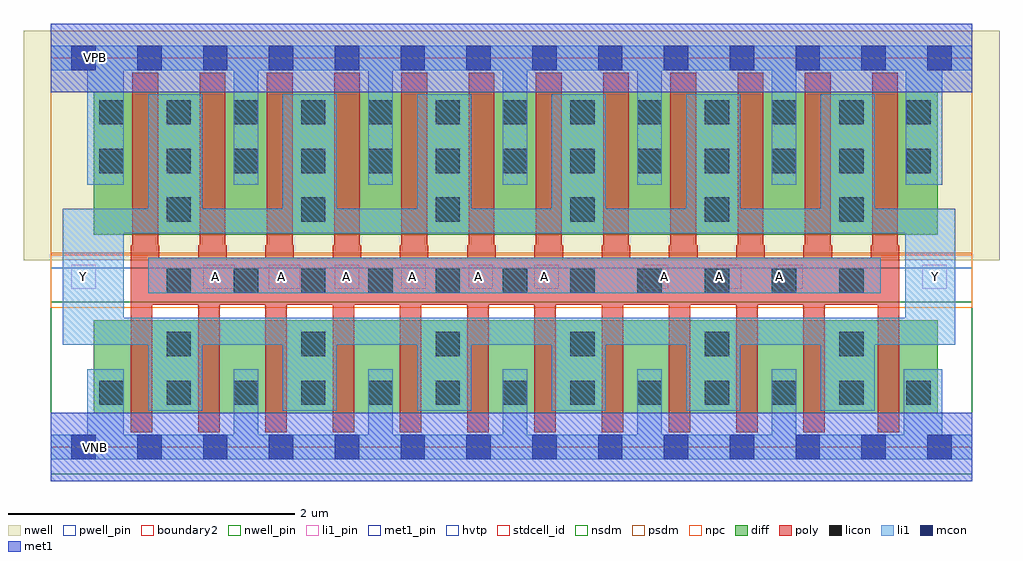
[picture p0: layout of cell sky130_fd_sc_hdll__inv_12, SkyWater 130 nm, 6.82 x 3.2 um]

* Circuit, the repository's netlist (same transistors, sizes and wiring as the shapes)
* Copyright 2020 The SkyWater PDK Authors
*
* Licensed under the Apache License, Version 2.0 (the "License");
* you may not use this file except in compliance with the License.
* You may obtain a copy of the License at
*
*     https://www.apache.org/licenses/LICENSE-2.0
*
* Unless required by applicable law or agreed to in writing, software
* distributed under the License is distributed on an "AS IS" BASIS,
* WITHOUT WARRANTIES OR CONDITIONS OF ANY KIND, either express or implied.
* See the License for the specific language governing permissions and
* limitations under the License.
*
* SPDX-License-Identifier: Apache-2.0

.SUBCKT sky130_fd_sc_hdll__inv_12 A VGND VNB VPB VPWR Y
*.PININFO A:I VGND:I VNB:I VPB:I VPWR:I Y:O
MMIN1 Y A VGND VNB sky130_fd_pr__nfet_01v8 m=12 w=0.65U l=0.15U mult=1 sa=0.265
+ sb=0.265 sd=0.28 area=0.063 perim=1.14
MMIP1 Y A VPWR VPB sky130_fd_pr__pfet_01v8_hvt m=12 w=1.0U l=0.18U mult=1 sa=0.265
+ sb=0.265 sd=0.28 area=0.063 perim=1.14
.ENDS sky130_fd_sc_hdll__inv_12

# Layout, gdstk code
import gdstk
lib = gdstk.Library(unit=1e-6, precision=1e-09)
def R(c, l, rs):  # rectangles x0, y0, x1, y1
    for r in rs: c.add(gdstk.rectangle(r[:2], r[2:], *l))
def A(c, l, x, y, w, h, nx, ny, dx, dy):  # array of equal rectangles
    R(c, l, [(x+i*dx, y+j*dy, x+i*dx+w, y+j*dy+h) for i in range(nx) for j in range(ny)])
def P(c, l, *ps):  # polygons
    for p in ps: c.add(gdstk.Polygon(p, *l))
nwell_pin = (64, 16)
nwell = (64, 20)
diff = (65, 20)
poly = (66, 20)
licon = (66, 44)
li1_pin = (67, 16)
li1 = (67, 20)
mcon = (67, 44)
met1_pin = (68, 16)
met1 = (68, 20)
hvtp = (78, 44)
stdcell_id = (81, 4)
nsdm = (93, 44)
psdm = (94, 20)
npc = (95, 20)
pwell_pin = (122, 16)
boundary2 = (236, 0)

sky130_fd_sc_hdll__inv_1 = lib.new_cell('sky130_fd_sc_hdll__inv_12')
R(sky130_fd_sc_hdll__inv_1, nwell_pin, [(0.145,2.635,0.315,2.805)])
R(sky130_fd_sc_hdll__inv_1, nwell, [(-0.19,1.305,6.63,2.91)])
R(sky130_fd_sc_hdll__inv_1, diff, [(0.3,0.235,6.2,0.885), (0.3,1.485,6.2,2.485)])
P(sky130_fd_sc_hdll__inv_1, poly, [(5.93,1.41),(5.92,1.41),(5.92,2.615),(5.74,2.615),(5.74,1.41),(5.73,1.41),(5.73,1.325),(5.46,1.325),(5.46,1.41),(5.45,1.41),(5.45,2.615),(5.27,2.615),(5.27,1.41),(5.26,1.41),(5.26,1.325),(4.99,1.325),(4.99,1.41),(4.98,1.41),(4.98,2.615),(4.8,2.615),(4.8,1.41),(4.79,1.41),(4.79,1.325),(4.52,1.325),(4.52,1.41),(4.51,1.41),(4.51,2.615),(4.33,2.615),(4.33,1.41),(4.32,1.41),(4.32,1.325),(4.05,1.325),(4.05,1.41),(4.04,1.41),(4.04,2.615),(3.86,2.615),(3.86,1.41),(3.85,1.41),(3.85,1.325),(3.58,1.325),(3.58,1.41),(3.57,1.41),(3.57,2.615),(3.39,2.615),(3.39,1.41),(3.38,1.41),(3.38,1.325),(3.11,1.325),(3.11,1.41),(3.1,1.41),(3.1,2.615),(2.92,2.615),(2.92,1.41),(2.91,1.41),(2.91,1.325),(2.64,1.325),(2.64,1.41),(2.63,1.41),(2.63,2.615),(2.45,2.615),(2.45,1.41),(2.44,1.41),(2.44,1.325),(2.17,1.325),(2.17,1.41),(2.16,1.41),(2.16,2.615),(1.98,2.615),(1.98,1.41),(1.97,1.41),(1.97,1.325),(1.7,1.325),(1.7,1.41),(1.69,1.41),(1.69,2.615),(1.51,2.615),(1.51,1.41),(1.5,1.41),(1.5,1.325),(1.23,1.325),(1.23,1.41),(1.22,1.41),(1.22,2.615),(1.04,2.615),(1.04,1.41),(1.03,1.41),(1.03,1.325),(0.76,1.325),(0.76,1.41),(0.75,1.41),(0.75,2.615),(0.57,2.615),(0.57,1.41),(0.56,1.41),(0.56,0.105),(0.71,0.105),(0.71,0.995),(1.03,0.995),(1.03,0.105),(1.18,0.105),(1.18,0.995),(1.5,0.995),(1.5,0.105),(1.65,0.105),(1.65,0.995),(1.97,0.995),(1.97,0.105),(2.12,0.105),(2.12,0.995),(2.44,0.995),(2.44,0.105),(2.59,0.105),(2.59,0.995),(2.91,0.995),(2.91,0.105),(3.06,0.105),(3.06,0.995),(3.38,0.995),(3.38,0.105),(3.53,0.105),(3.53,0.995),(3.85,0.995),(3.85,0.105),(4,0.105),(4,0.995),(4.32,0.995),(4.32,0.105),(4.47,0.105),(4.47,0.995),(4.79,0.995),(4.79,0.105),(4.94,0.105),(4.94,0.995),(5.26,0.995),(5.26,0.105),(5.41,0.105),(5.41,0.995),(5.78,0.995),(5.78,0.105),(5.93,0.105)])
A(sky130_fd_sc_hdll__inv_1, licon, 0.34, 0.295, 0.17, 0.17, 13, 2, 0.47, 1.62)
A(sky130_fd_sc_hdll__inv_1, licon, 0.81, 0.635, 0.17, 0.17, 6, 2, 0.94, 0.94)
A(sky130_fd_sc_hdll__inv_1, licon, 0.81, 1.075, 0.17, 0.17, 11, 1, 0.47, 0)
A(sky130_fd_sc_hdll__inv_1, licon, 0.34, 2.255, 0.17, 0.17, 13, 1, 0.47, 0)
R(sky130_fd_sc_hdll__inv_1, li1_pin, [(0.145,1.105,0.315,1.275), (1.065,1.105,1.285,1.275), (1.525,1.105,1.745,1.275), (1.985,1.105,2.155,1.275), (2.45,1.105,2.62,1.275), (2.92,1.105,3.09,1.275), (3.38,1.105,3.55,1.275), (4.145,1.105,4.315,1.275), (4.655,1.105,4.825,1.275), (5.085,1.105,5.255,1.275), (6.09,1.105,6.26,1.275)])
R(sky130_fd_sc_hdll__inv_1, li1, [(0.68,1.075,5.8,1.325)])
P(sky130_fd_sc_hdll__inv_1, li1, [(6.32,1.665),(5.97,1.665),(5.97,0.905),(0.51,0.905),(0.51,1.495),(5.97,1.495),(5.97,1.665),(5.76,1.665),(5.76,2.465),(5.38,2.465),(5.38,1.665),(4.82,1.665),(4.82,2.465),(4.44,2.465),(4.44,1.665),(3.88,1.665),(3.88,2.465),(3.5,2.465),(3.5,1.665),(2.94,1.665),(2.94,2.465),(2.56,2.465),(2.56,1.665),(2,1.665),(2,2.465),(1.62,2.465),(1.62,1.665),(1.06,1.665),(1.06,2.465),(0.68,2.465),(0.68,1.665),(0.085,1.665),(0.085,0.715),(0.68,0.715),(0.68,0.255),(1.06,0.255),(1.06,0.715),(1.62,0.715),(1.62,0.255),(2,0.255),(2,0.715),(2.56,0.715),(2.56,0.255),(2.94,0.255),(2.94,0.715),(3.5,0.715),(3.5,0.255),(3.88,0.255),(3.88,0.715),(4.44,0.715),(4.44,0.255),(4.82,0.255),(4.82,0.715),(5.38,0.715),(5.38,0.255),(5.76,0.255),(5.76,0.715),(6.32,0.715)],
  [(6.44,2.805),(0,2.805),(0,2.635),(0.255,2.635),(0.255,1.835),(0.51,1.835),(0.51,2.635),(1.28,2.635),(1.28,1.835),(1.45,1.835),(1.45,2.635),(2.22,2.635),(2.22,1.835),(2.39,1.835),(2.39,2.635),(3.16,2.635),(3.16,1.835),(3.33,1.835),(3.33,2.635),(4.1,2.635),(4.1,1.835),(4.27,1.835),(4.27,2.635),(5.04,2.635),(5.04,1.835),(5.21,1.835),(5.21,2.635),(5.975,2.635),(5.975,1.835),(6.23,1.835),(6.23,2.635),(6.44,2.635)],
  [(6.44,0.085),(6.23,0.085),(6.23,0.545),(5.96,0.545),(5.96,0.085),(5.21,0.085),(5.21,0.545),(5.04,0.545),(5.04,0.085),(4.27,0.085),(4.27,0.545),(4.1,0.545),(4.1,0.085),(3.33,0.085),(3.33,0.545),(3.16,0.545),(3.16,0.085),(2.39,0.085),(2.39,0.545),(2.22,0.545),(2.22,0.085),(1.45,0.085),(1.45,0.545),(1.28,0.545),(1.28,0.085),(0.51,0.085),(0.51,0.545),(0.255,0.545),(0.255,0.085),(0,0.085),(0,-0.085),(6.44,-0.085)])
A(sky130_fd_sc_hdll__inv_1, mcon, 0.145, -0.085, 0.17, 0.17, 14, 2, 0.46, 2.72)
R(sky130_fd_sc_hdll__inv_1, met1_pin, [(0.145,-0.085,0.315,0.085), (0.145,2.635,0.315,2.805)])
R(sky130_fd_sc_hdll__inv_1, met1, [(0,-0.24,6.44,0.24), (0,2.48,6.44,2.96)])
R(sky130_fd_sc_hdll__inv_1, hvtp, [(0,1.25,6.44,2.72)])
R(sky130_fd_sc_hdll__inv_1, stdcell_id, [(0,0,6.44,2.72)])
R(sky130_fd_sc_hdll__inv_1, nsdm, [(0,-0.19,6.44,1.015)])
R(sky130_fd_sc_hdll__inv_1, psdm, [(0,1.355,6.44,2.91)])
R(sky130_fd_sc_hdll__inv_1, npc, [(0,0.975,6.44,1.345)])
R(sky130_fd_sc_hdll__inv_1, pwell_pin, [(0.145,-0.085,0.315,0.085)])
R(sky130_fd_sc_hdll__inv_1, boundary2, [(0,0,6.44,2.72)])
sky130_fd_sc_hdll__inv_1.add(gdstk.Label('A', (1.15,1.19), layer=67, texttype=5))
sky130_fd_sc_hdll__inv_1.add(gdstk.Label('A', (1.61,1.19), layer=67, texttype=5))
sky130_fd_sc_hdll__inv_1.add(gdstk.Label('A', (2.07,1.19), layer=67, texttype=5))
sky130_fd_sc_hdll__inv_1.add(gdstk.Label('A', (2.53,1.19), layer=67, texttype=5))
sky130_fd_sc_hdll__inv_1.add(gdstk.Label('A', (2.99,1.19), layer=67, texttype=5))
sky130_fd_sc_hdll__inv_1.add(gdstk.Label('A', (3.45,1.19), layer=67, texttype=5))
sky130_fd_sc_hdll__inv_1.add(gdstk.Label('Y', (6.18,1.19), layer=67, texttype=5))
sky130_fd_sc_hdll__inv_1.add(gdstk.Label('Y', (0.23,1.19), layer=67, texttype=5))
sky130_fd_sc_hdll__inv_1.add(gdstk.Label('A', (4.29,1.19), layer=67, texttype=5))
sky130_fd_sc_hdll__inv_1.add(gdstk.Label('A', (4.67,1.19), layer=67, texttype=5))
sky130_fd_sc_hdll__inv_1.add(gdstk.Label('A', (5.09,1.19), layer=67, texttype=5))
sky130_fd_sc_hdll__inv_1.add(gdstk.Label('VNB', (0.31,0), layer=64, texttype=59))
sky130_fd_sc_hdll__inv_1.add(gdstk.Label('VPB', (0.31,2.72), layer=64, texttype=5))
sky130_fd_sc_hdll__inv_1.add(gdstk.Label('VGND', (0.31,0), layer=68, texttype=5))
sky130_fd_sc_hdll__inv_1.add(gdstk.Label('VPWR', (0.31,2.72), layer=68, texttype=5))

lib.write_gds('sky130_fd_sc_hdll__inv_12.gds')
